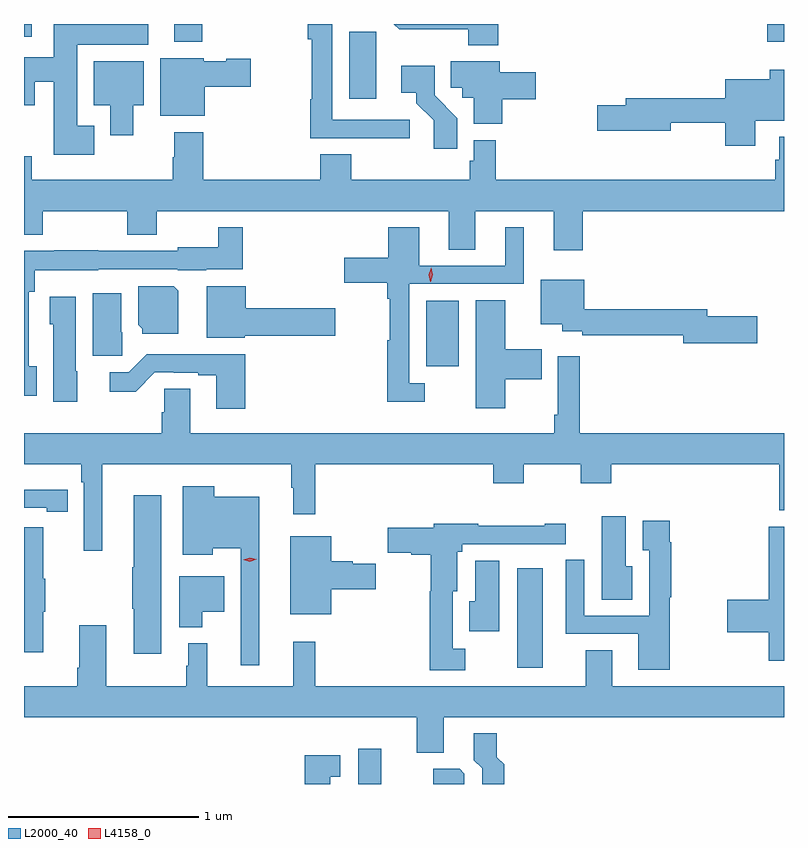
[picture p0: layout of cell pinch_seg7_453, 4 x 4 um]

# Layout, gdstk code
import gdstk
lib = gdstk.Library(unit=1e-6, precision=1e-09)
def R(c, l, rs):  # rectangles x0, y0, x1, y1
    for r in rs: c.add(gdstk.rectangle(r[:2], r[2:], *l))
def P(c, l, *ps):  # polygons
    for p in ps: c.add(gdstk.Polygon(p, *l))
L2000_40 = (2000, 40)
L4158_0 = (4158, 0)

pinch_seg7_453 = lib.new_cell('pinch_seg7_453')
R(pinch_seg7_453, L2000_40, [(313.262,1056.209,313.384,1056.394), (314.099,1056.822,314.233,1057.345), (313.619,1058.408,313.792,1058.752), (312.293,1060.115,312.441,1060.209), (315.416,1060.115,315.503,1060.209), (311.503,1060.143,311.545,1060.209)])
P(pinch_seg7_453, L2000_40, [(311.872,1059.673),(311.782,1059.673),(311.782,1060.1),(312.157,1060.1),(312.157,1060.209),(311.66,1060.209),(311.66,1060.033),(311.503,1060.033),(311.503,1059.782),(311.56,1059.782),(311.56,1059.904),(311.66,1059.904),(311.66,1059.521),(311.872,1059.521)],
  [(313.534,1059.705),(313.125,1059.705),(313.125,1060.209),(312.996,1060.209),(312.996,1060.13),(313.017,1060.13),(313.017,1059.812),(313.009,1059.812),(313.009,1059.609),(313.309,1059.609),(313.309,1059.607),(313.534,1059.607)],
  [(314,1060.209),(313.449,1060.209),(313.477,1060.181),(313.576,1060.181),(313.576,1060.182),(313.84,1060.182),(313.84,1060.097),(314,1060.097)],
  [(313.357,1060.058),(313.356,1060.058),(313.356,1060.169),(313.214,1060.169),(313.214,1059.816),(313.357,1059.816)],
  [(312.454,1059.878),(312.697,1059.878),(312.697,1060.025),(312.567,1060.025),(312.567,1060.012),(312.45,1060.012),(312.45,1060.03),(312.221,1060.03),(312.221,1059.725),(312.454,1059.725)],
  [(314.021,1059.814),(314.197,1059.814),(314.197,1059.956),(314.008,1059.956),(314.008,1060.012),(313.75,1060.012),(313.75,1059.874),(313.809,1059.874),(313.809,1059.822),(313.871,1059.822),(313.871,1059.683),(314.021,1059.683)],
  [(312.079,1059.782),(312.133,1059.782),(312.133,1060.012),(311.87,1060.012),(311.87,1059.782),(311.957,1059.782),(311.957,1059.624),(312.079,1059.624)],
  [(313.784,1059.714),(313.665,1059.833),(313.665,1059.988),(313.488,1059.988),(313.488,1059.848),(313.568,1059.848),(313.568,1059.793),(313.659,1059.703),(313.659,1059.552),(313.784,1059.552)],
  [(315.352,1059.701),(315.503,1059.701),(315.503,1059.967),(315.428,1059.967),(315.428,1059.919),(315.194,1059.919),(315.194,1059.818),(314.669,1059.818),(314.669,1059.782),(314.52,1059.782),(314.52,1059.647),(314.908,1059.647),(314.908,1059.69),(315.194,1059.69),(315.194,1059.567),(315.352,1059.567)],
  [(314.444,1059.224),(315.503,1059.224),(315.503,1059.616),(315.477,1059.616),(315.477,1059.495),(315.457,1059.495),(315.457,1059.388),(313.985,1059.388),(313.985,1059.598),(313.869,1059.598),(313.869,1059.489),(313.849,1059.489),(313.849,1059.388),(313.226,1059.388),(313.226,1059.524),(313.061,1059.524),(313.061,1059.388),(312.446,1059.388),(312.446,1059.64),(312.293,1059.64),(312.293,1059.509),(312.286,1059.509),(312.286,1059.388),(311.545,1059.388),(311.545,1059.512),(311.503,1059.512),(311.503,1059.1),(311.601,1059.1),(311.601,1059.224),(312.046,1059.224),(312.046,1059.1),(312.201,1059.1),(312.201,1059.224),(313.739,1059.224),(313.739,1059.022),(313.879,1059.022),(313.879,1059.224),(314.291,1059.224),(314.291,1059.018),(314.444,1059.018)],
  [(313.612,1058.319),(313.53,1058.319),(313.53,1058.841),(314.134,1058.841),(314.134,1059.139),(314.036,1059.139),(314.036,1058.937),(313.582,1058.937),(313.582,1059.139),(313.421,1059.139),(313.421,1058.98),(313.188,1058.98),(313.188,1058.846),(313.414,1058.846),(313.414,1058.762),(313.429,1058.762),(313.429,1058.544),(313.414,1058.544),(313.414,1058.222),(313.612,1058.222)],
  [(311.569,1058.409),(311.529,1058.409),(311.529,1058.801),(311.56,1058.801),(311.56,1058.912),(311.895,1058.912),(311.895,1058.919),(312.312,1058.919),(312.312,1058.912),(312.462,1058.912),(312.462,1058.918),(312.653,1058.918),(312.653,1059.139),(312.525,1059.139),(312.525,1059.034),(312.312,1059.034),(312.312,1059.015),(311.895,1059.015),(311.895,1059.017),(311.663,1059.017),(311.663,1059.015),(311.503,1059.015),(311.503,1058.253),(311.569,1058.253)],
  [(315.361,1058.672),(315.1,1058.672),(315.1,1058.708),(314.452,1058.708),(314.452,1058.863),(314.222,1058.863),(314.222,1058.63),(314.336,1058.63),(314.336,1058.591),(314.44,1058.591),(314.44,1058.572),(314.972,1058.572),(314.972,1058.53),(315.361,1058.53)],
  [(312.316,1058.804),(312.29,1058.83),(312.104,1058.83),(312.104,1058.626),(312.126,1058.604),(312.126,1058.579),(312.316,1058.579)],
  [(312.666,1058.567),(313.141,1058.567),(313.141,1058.714),(312.67,1058.714),(312.67,1058.828),(312.464,1058.828),(312.464,1058.558),(312.666,1058.558)],
  [(312.02,1058.586),(312.016,1058.586),(312.016,1058.791),(311.864,1058.791),(311.864,1058.463),(312.02,1058.463)],
  [(311.782,1058.382),(311.776,1058.382),(311.776,1058.773),(311.639,1058.773),(311.639,1058.628),(311.657,1058.628),(311.657,1058.22),(311.782,1058.22)],
  [(314.035,1058.339),(314.228,1058.339),(314.228,1058.497),(314.035,1058.497),(314.035,1058.756),(313.88,1058.756),(313.88,1058.187),(314.035,1058.187)],
  [(312.668,1058.47),(312.148,1058.47),(312.054,1058.376),(311.955,1058.376),(311.955,1058.274),(312.09,1058.274),(312.192,1058.376),(312.292,1058.376),(312.292,1058.373),(312.419,1058.373),(312.419,1058.361),(312.515,1058.361),(312.515,1058.184),(312.668,1058.184)],
  [(311.914,1057.892),(312.909,1057.892),(312.909,1057.769),(312.92,1057.769),(312.92,1057.629),(313.037,1057.629),(313.037,1057.892),(313.973,1057.892),(313.973,1057.793),(314.133,1057.793),(314.133,1057.892),(314.434,1057.892),(314.434,1057.793),(314.594,1057.793),(314.594,1057.892),(315.479,1057.892),(315.479,1057.649),(315.503,1057.649),(315.503,1058.056),(314.429,1058.056),(314.429,1058.461),(314.313,1058.461),(314.313,1058.152),(314.293,1058.152),(314.293,1058.056),(312.379,1058.056),(312.379,1058.288),(312.24,1058.288),(312.24,1058.166),(312.227,1058.166),(312.227,1058.056),(311.503,1058.056),(311.503,1057.892),(311.804,1057.892),(311.804,1057.796),(311.817,1057.796),(311.817,1057.437),(311.914,1057.437)],
  [(312.742,1057.72),(312.504,1057.72),(312.504,1057.777),(312.338,1057.777),(312.338,1057.415),(312.496,1057.415),(312.496,1057.451),(312.645,1057.451),(312.645,1056.834),(312.742,1056.834)],
  [(311.732,1057.758),(311.624,1057.758),(311.624,1057.759),(311.503,1057.759),(311.503,1057.662),(311.624,1057.662),(311.624,1057.642),(311.732,1057.642)],
  [(312.226,1057.729),(312.08,1057.729),(312.08,1057.349),(312.073,1057.349),(312.073,1057.132),(312.08,1057.132),(312.08,1056.894),(312.226,1056.894)],
  [(314.704,1057.354),(314.671,1057.354),(314.671,1057.618),(314.543,1057.618),(314.543,1057.18),(314.704,1057.18)],
  [(314.902,1057.192),(314.909,1057.192),(314.909,1057.481),(314.902,1057.481),(314.902,1057.594),(314.759,1057.594),(314.759,1057.438),(314.793,1057.438),(314.793,1057.095),(314.451,1057.095),(314.451,1057.389),(314.355,1057.389),(314.355,1056.999),(314.735,1056.999),(314.735,1056.81),(314.902,1056.81)],
  [(313.825,1056.922),(313.759,1056.922),(313.759,1057.224),(313.783,1057.224),(313.783,1057.431),(313.81,1057.431),(313.81,1057.47),(314.355,1057.47),(314.355,1057.579),(314.243,1057.579),(314.243,1057.569),(313.894,1057.569),(313.894,1057.579),(313.659,1057.579),(313.659,1057.557),(313.417,1057.557),(313.417,1057.427),(313.541,1057.427),(313.541,1057.415),(313.645,1057.415),(313.645,1057.224),(313.638,1057.224),(313.638,1056.809),(313.825,1056.809)],
  [(315.503,1057.564),(315.422,1057.564),(315.422,1057.178),(315.204,1057.178),(315.204,1057.007),(315.422,1057.007),(315.422,1056.857),(315.503,1056.857)],
  [(311.603,1057.115),(311.614,1057.115),(311.614,1057.289),(311.603,1057.289),(311.603,1057.561),(311.503,1057.561),(311.503,1056.903),(311.603,1056.903)],
  [(313.12,1057.235),(313.355,1057.235),(313.355,1057.369),(313.233,1057.369),(313.233,1057.382),(313.12,1057.382),(313.12,1057.513),(312.905,1057.513),(312.905,1057.103),(313.12,1057.103)],
  [(314.005,1057.385),(313.877,1057.385),(313.877,1057.17),(313.847,1057.17),(313.847,1057.014),(314.005,1057.014)],
  [(312.442,1057.115),(312.556,1057.115),(312.556,1057.303),(312.32,1057.303),(312.32,1057.034),(312.442,1057.034)],
  [(313.711,1056.56),(315.503,1056.56),(315.503,1056.724),(314.599,1056.724),(314.599,1056.914),(314.459,1056.914),(314.459,1056.724),(313.037,1056.724),(313.037,1056.958),(312.92,1056.958),(312.92,1056.724),(312.467,1056.724),(312.467,1056.949),(312.368,1056.949),(312.368,1056.831),(312.357,1056.831),(312.357,1056.724),(311.935,1056.724),(311.935,1057.045),(311.795,1057.045),(311.795,1056.82),(311.783,1056.82),(311.783,1056.724),(311.503,1056.724),(311.503,1056.56),(313.571,1056.56),(313.571,1056.373),(313.711,1056.373)],
  [(314.03,1056.312),(313.991,1056.351),(313.991,1056.475),(313.871,1056.475),(313.871,1056.334),(313.914,1056.291),(313.914,1056.209),(314.03,1056.209)],
  [(313.114,1056.248),(313.168,1056.248),(313.168,1056.361),(312.98,1056.361),(312.98,1056.209),(313.114,1056.209)],
  [(313.821,1056.264),(313.797,1056.288),(313.658,1056.288),(313.658,1056.209),(313.821,1056.209)])
P(pinch_seg7_453, L4158_0, [(313.642,1058.853),(313.642,1058.853),(313.634,1058.89),(313.646,1058.925),(313.646,1058.925),(313.646,1058.925),(313.654,1058.889),(313.643,1058.853)],
  [(312.691,1057.38),(312.656,1057.388),(312.655,1057.388),(312.656,1057.389),(312.691,1057.4),(312.727,1057.391),(312.727,1057.391),(312.727,1057.391)])

lib.write_gds('pinch_seg7_453.gds')
